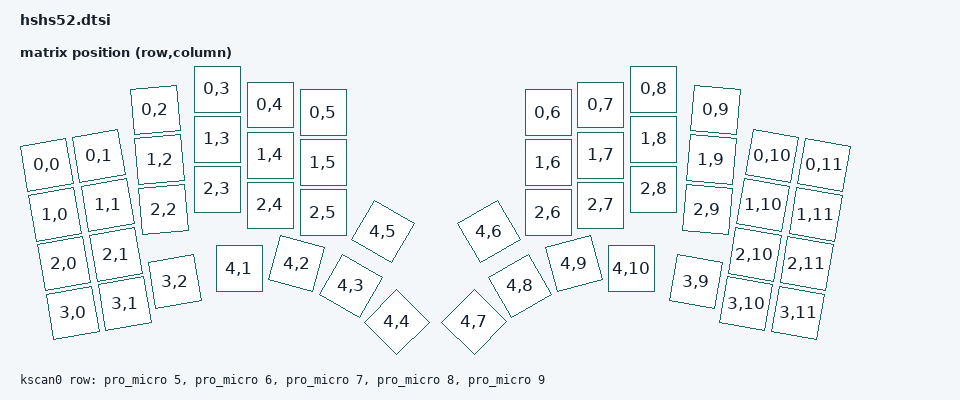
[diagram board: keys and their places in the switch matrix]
/*
 * Copyright (c) 2021-2022 The ZMK Contributors
 *
 * SPDX-License-Identifier: MIT
 */

#include <dt-bindings/zmk/matrix_transform.h>
#include <physical_layouts.dtsi>

/ {
    chosen {
        zmk,kscan = &kscan0;
        zmk,physical-layout = &physical_layout0;
    };

    default_transform: keymap_transform_0 {
        compatible = "zmk,matrix-transform";
        columns = <12>;
        rows = <5>;
// | SW1  | SW2  | SW3  | SW4  | SW5  | SW6  |                                   | SW6  | SW5  | SW4  | SW3  | SW2  | SW1  |
// | SW7  | SW8  | SW9  | SW10 | SW11 | SW12 |                                   | SW12 | SW11 | SW10 | SW9  | SW8  | SW7  |
// | SW13 | SW14 | SW15 | SW16 | SW17 | SW18 / SW19 /                     \ SW19 \ SW18 | SW17 | SW16 | SW15 | SW14 | SW13 |
// | SW20 | SW21 | SW22    | SW23 / SW24 / SW25 / SW26 /               \ SW26 \ SW25 \ SW24 \ SW23 |    SW22 | SW21 | SW20 |
        map = <
RC(0,0) RC(0,1) RC(0,2) RC(0,3) RC(0,4) RC(0,5)                                   RC(0,6) RC(0,7) RC(0,8) RC(0,9) RC(0,10) RC(0,11)
RC(1,0) RC(1,1) RC(1,2) RC(1,3) RC(1,4) RC(1,5)                                   RC(1,6) RC(1,7) RC(1,8) RC(1,9) RC(1,10) RC(1,11)
RC(2,0) RC(2,1) RC(2,2) RC(2,3) RC(2,4) RC(2,5) RC(4,5)                   RC(4,6) RC(2,6) RC(2,7) RC(2,8) RC(2,9) RC(2,10) RC(2,11)
RC(3,0) RC(3,1) RC(3,2)         RC(4,1) RC(4,2) RC(4,3) RC(4,4)   RC(4,7) RC(4,8) RC(4,9) RC(4,10)        RC(3,9) RC(3,10) RC(3,11)
        >;
    };

    // Key positions and angles from mmccoyd/hillside hillside52.kicad_pcb,
    // 1u = 17mm, right half mirrored. Cosmetic only (what ZMK Studio draws).
    physical_layout0: physical_layout_0 {
        compatible = "zmk,physical-layout";
        display-name = "Default Layout";
        transform = <&default_transform>;
        keys
            = <&key_physical_attrs 100 100   25  177 (-1000)   75  227>
            , <&key_physical_attrs 100 100  129  159 (-1000)  179  209>
            , <&key_physical_attrs 100 100  242   67  (-500)  292  117>
            , <&key_physical_attrs 100 100  366   25       0  416   75>
            , <&key_physical_attrs 100 100  472   57       0  522  107>
            , <&key_physical_attrs 100 100  578   72       0  628  122>
            , <&key_physical_attrs 100 100 1028   72       0 1078  122>
            , <&key_physical_attrs 100 100 1133   57       0 1183  107>
            , <&key_physical_attrs 100 100 1239   25       0 1289   75>
            , <&key_physical_attrs 100 100 1363   67     500 1413  117>
            , <&key_physical_attrs 100 100 1476  159    1000 1526  209>
            , <&key_physical_attrs 100 100 1580  177    1000 1630  227>
            , <&key_physical_attrs 100 100   42  276 (-1000)   92  326>
            , <&key_physical_attrs 100 100  147  257 (-1000)  197  307>
            , <&key_physical_attrs 100 100  251  166  (-500)  301  216>
            , <&key_physical_attrs 100 100  366  125       0  416  175>
            , <&key_physical_attrs 100 100  472  157       0  522  207>
            , <&key_physical_attrs 100 100  578  172       0  628  222>
            , <&key_physical_attrs 100 100 1028  172       0 1078  222>
            , <&key_physical_attrs 100 100 1133  157       0 1183  207>
            , <&key_physical_attrs 100 100 1239  125       0 1289  175>
            , <&key_physical_attrs 100 100 1354  166     500 1404  216>
            , <&key_physical_attrs 100 100 1458  257    1000 1508  307>
            , <&key_physical_attrs 100 100 1563  276    1000 1613  326>
            , <&key_physical_attrs 100 100   60  374 (-1000)  110  424>
            , <&key_physical_attrs 100 100  164  356 (-1000)  214  406>
            , <&key_physical_attrs 100 100  259  266  (-500)  309  316>
            , <&key_physical_attrs 100 100  366  225       0  416  275>
            , <&key_physical_attrs 100 100  472  257       0  522  307>
            , <&key_physical_attrs 100 100  578  272       0  628  322>
            , <&key_physical_attrs 100 100  697  310    3000  747  360>
            , <&key_physical_attrs 100 100  909  310 (-3000)  959  360>
            , <&key_physical_attrs 100 100 1028  272       0 1078  322>
            , <&key_physical_attrs 100 100 1133  257       0 1183  307>
            , <&key_physical_attrs 100 100 1239  225       0 1289  275>
            , <&key_physical_attrs 100 100 1346  266     500 1396  316>
            , <&key_physical_attrs 100 100 1441  356    1000 1491  406>
            , <&key_physical_attrs 100 100 1545  374    1000 1595  424>
            , <&key_physical_attrs 100 100   77  473 (-1000)  127  523>
            , <&key_physical_attrs 100 100  181  454 (-1000)  231  504>
            , <&key_physical_attrs 100 100  281  410 (-1000)  331  460>
            , <&key_physical_attrs 100 100  410  384       0  460  434>
            , <&key_physical_attrs 100 100  525  374    1500  575  424>
            , <&key_physical_attrs 100 100  633  419    3000  683  469>
            , <&key_physical_attrs 100 100  725  491    4500  775  541>
            , <&key_physical_attrs 100 100  880  491 (-4500)  930  541>
            , <&key_physical_attrs 100 100  972  419 (-3000) 1022  469>
            , <&key_physical_attrs 100 100 1080  374 (-1500) 1130  424>
            , <&key_physical_attrs 100 100 1195  384       0 1245  434>
            , <&key_physical_attrs 100 100 1324  410    1000 1374  460>
            , <&key_physical_attrs 100 100 1424  454    1000 1474  504>
            , <&key_physical_attrs 100 100 1528  473    1000 1578  523>
            ;
    };

    kscan0: kscan {
        compatible = "zmk,kscan-gpio-matrix";
        label = "KSCAN";

        diode-direction = "col2row";
        row-gpios
            = <&pro_micro 5 (GPIO_ACTIVE_HIGH | GPIO_PULL_DOWN)>
            , <&pro_micro 6 (GPIO_ACTIVE_HIGH | GPIO_PULL_DOWN)>
            , <&pro_micro 7 (GPIO_ACTIVE_HIGH | GPIO_PULL_DOWN)>
            , <&pro_micro 8 (GPIO_ACTIVE_HIGH | GPIO_PULL_DOWN)>
            , <&pro_micro 9 (GPIO_ACTIVE_HIGH | GPIO_PULL_DOWN)>
            ;

    };
};
